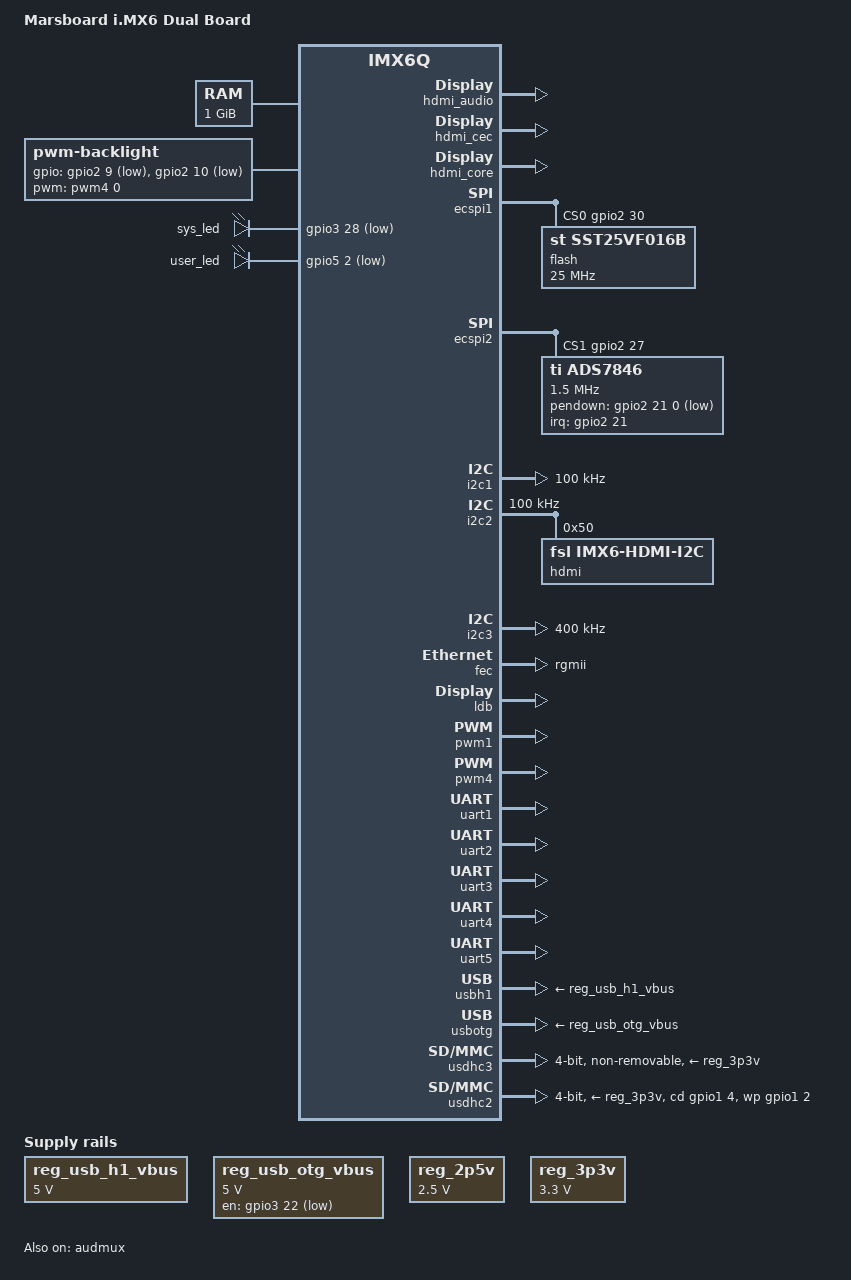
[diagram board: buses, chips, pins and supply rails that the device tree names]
/**/

/dts-v1/;
#include "imx6q.dtsi"

/ {
	model = "Marsboard i.MX6 Dual Board";
	compatible = "embest,imx6q-marsboard", "fsl,imx6q";

	aliases {
		mxcfb0 = &mxcfb1;
		mxcfb1 = &mxcfb2;
		mxcfb2 = &mxcfb3;
		mxcfb3 = &mxcfb4;
	};

	memory {
		reg = <0x10000000 0x40000000>;
	};

	backlight {
		compatible = "pwm-backlight";
		gpios = <&gpio2 9 1 &gpio2 10 1>;
		pwms = <&pwm4 0 5000000>;
		brightness-levels = <0 4 8 16 32 64 128 255>;
		default-brightness-level = <7>;
	};


	leds {
		compatible = "gpio-leds";

		sys_led {
			gpios = <&gpio3 28 GPIO_ACTIVE_LOW>;
			linux,default-trigger = "heartbeat";
		};

		user_led {
			gpios = <&gpio5 2 GPIO_ACTIVE_LOW>;
		};
	};

	hannstar_cabc {
		compatible = "hannstar,cabc";
	};

	lcd@0 {
		compatible = "fsl,lcd";
		pinctrl-names = "default";
		pinctrl-0 = <&pinctrl_ipu1_1>;
		ipu_id = <0>;
		disp_id = <0>;
		default_ifmt = "RGB565";
		status = "okay";
	};

	mxcfb1: fb@0 {
		compatible = "fsl,mxc_sdc_fb";
		disp_dev = "ldb";
		interface_pix_fmt = "RGB666";
		mode_str ="LDB-XGA";
		default_bpp = <16>;
		int_clk = <0>;
		late_init = <0>;
		status = "disabled";
	};

	mxcfb2: fb@1 {
		compatible = "fsl,mxc_sdc_fb";
		disp_dev = "hdmi";
		interface_pix_fmt = "RGB24";
		mode_str ="1920x1080M@60";
		default_bpp = <24>;
		int_clk = <0>;
		late_init = <0>;
		status = "disabled";
	};

	mxcfb3: fb@2 {
		compatible = "fsl,mxc_sdc_fb";
		disp_dev = "lcd";
		interface_pix_fmt = "RGB565";
		mode_str ="CLAA-WVGA";
		default_bpp = <16>;
		int_clk = <0>;
		late_init = <0>;
		status = "disabled";
	};

	mxcfb4: fb@3 {
		compatible = "fsl,mxc_sdc_fb";
		disp_dev = "ldb";
		interface_pix_fmt = "RGB666";
		mode_str ="LDB-XGA";
		default_bpp = <16>;
		int_clk = <0>;
		late_init = <0>;
		status = "disabled";
	};

	regulators {
		compatible = "simple-bus";

		reg_usb_h1_vbus: usb_h1_vbus {
			compatible = "regulator-fixed";
			regulator-name = "usb_h1_vbus";
			regulator-min-microvolt = <5000000>;
			regulator-max-microvolt = <5000000>;
			regulator-always-on;
       };

		reg_usb_otg_vbus: usb_otg_vbus {
			compatible = "regulator-fixed";
			regulator-name = "usb_otg_vbus";
			regulator-min-microvolt = <5000000>;
			regulator-max-microvolt = <5000000>;
			gpio = <&gpio3 22 0>;
			/*enable-active-high;*/
		};

		reg_2p5v: 2p5v {
			compatible = "regulator-fixed";
			regulator-name = "2P5V";
			regulator-min-microvolt = <2500000>;
			regulator-max-microvolt = <2500000>;
			regulator-always-on;
		};

		reg_3p3v: 3p3v {
			compatible = "regulator-fixed";
			regulator-name = "3P3V";
			regulator-min-microvolt = <3300000>;
			regulator-max-microvolt = <3300000>;
			regulator-always-on;
		};
	};

	sound-hdmi {
		compatible = "fsl,imx6q-audio-hdmi",
			     "fsl,imx-audio-hdmi";
		model = "imx-audio-hdmi";
		hdmi-controller = <&hdmi_audio>;
	};
#if 0
	sound-spdif {
		compatible = "fsl,imx-audio-spdif",
			   "fsl,imx-sabreauto-spdif";
		model = "imx-spdif";
		spdif-controller = <&spdif>;
		spdif-in;
	};

	v4l2_cap_0 {
		compatible = "fsl,imx6q-v4l2-capture";
		ipu_id = <0>;
		csi_id = <0>;
		mclk_source = <0>;
		status = "okay";
	};

	v4l2_out {
		compatible = "fsl,mxc_v4l2_output";
		status = "okay";
	};
#endif
};

&audmux {
	pinctrl-names = "default";
	pinctrl-0 = <&pinctrl_audmux_2>;
	status = "okay";
};

&iomuxc {
	pinctrl-names = "default";
	pinctrl-0 = <&pinctrl_hog>;

	hog {
		pinctrl_hog: hoggrp {
			fsl,pins = <
				/* lvds */	
				MX6QDL_PAD_ENET_TXD1__GPIO1_IO29 0x80000000 /* LCD_PWR_EN */
				MX6QDL_PAD_NANDF_CS2__GPIO6_IO15 0x80000000 /* LED_PWR_EN */
				/* generic_ts */	
				MX6QDL_PAD_NANDF_CS1__GPIO6_IO14 0x80000000 /* Touch_Int */
				/* SDHC2 */
				MX6QDL_PAD_GPIO_2__GPIO1_IO02 0x80000000 /* SD2 WP */
				MX6QDL_PAD_GPIO_4__GPIO1_IO04 0x80000000 /* SD2 CD */	
				/* usb otg */
				MX6QDL_PAD_EIM_D22__GPIO3_IO22 0x80000000 /* USB_OTG_PWR_EN */
				//MX6QDL_PAD_EIM_D21__USB_OTG_OC 0x17059
				//MX6QDL_PAD_EIM_D30__USB_H1_OC 0x17059
				/* Ethernet */
				MX6QDL_PAD_EIM_D31__GPIO3_IO31 0x80000000 /* RGMII RST */
				/* ads7846 */
				MX6QDL_PAD_EIM_A17__GPIO2_IO21 0x80000000 /* TOUCH_PENIRQ */
				/* gpio-leds */
				MX6QDL_PAD_EIM_D28__GPIO3_IO28 0x80000000 /* User LED D25 */
				MX6QDL_PAD_EIM_A25__GPIO5_IO02 0x80000000 /* User LED D24 */
				/* 24MHz for audio & camera */
				MX6QDL_PAD_GPIO_0__CCM_CLKO1    0x130b0

				MX6QDL_PAD_EIM_EB2__GPIO2_IO30 0x80000000 /* SPI1_CS0 */
				MX6QDL_PAD_EIM_RW__GPIO2_IO26 0x80000000 /* SPI2_CS0 */
			>;
		};
	};
};

&hdmi_audio {
	status = "okay";
};

&hdmi_cec {
	pinctrl-names = "default";
	pinctrl-0 = <&pinctrl_hdmi_cec_2>; /* Pin CAN1_RXD ??? */
	status = "okay";
};

&hdmi_core {
	ipu_id = <0>;
	disp_id = <1>;
	status = "okay";
};

&hdmi_video {
	pinctrl-names = "default";
	pinctrl-0 = <&pinctrl_hdmi_hdcp_1>;
	fsl,hdcp;
};

&spdif {
	//pinctrl-names = "default";
	//pinctrl-0 = <&pinctrl_spdif_3>;
	status = "disabled"; /*conflicts whit enet*/
};

&ecspi1 {
	fsl,spi-num-chipselects = <1>;
	cs-gpios = <&gpio2 30 0>;
	pinctrl-names = "default";
	pinctrl-0 = <&pinctrl_ecspi1_1>;

	/* NOR-flash */
	flash: m25p80@0 {
		#address-cells = <1>;
		#size-cells = <1>;
		compatible = "st,sst25vf016b";
		spi-max-frequency = <25000000>;
		reg = <0>;	/* CS0 */
	};
};

&ecspi2 {
	fsl,spi-num-chipselects = <3>;
	cs-gpios = <&gpio2 26 0>,<&gpio2 27 0>,<&gpio3 29 0>;
	pinctrl-names = "default";
	pinctrl-0 = <&pinctrl_ecspi2_1 &pinctrl_ecspi2_cs_1 &pinctrl_ecspi2_cs_2>;

	/*Touch controller*/
	ads7846@0 {
		reg = <1>;	/* CS1 */
		compatible = "ti,ads7846";
		interrupt-parent = <&gpio2>;
		interrupts = <21 2>;	
		spi-max-frequency = <1500000>;
		pendown-gpio = <&gpio2 21 0 GPIO_ACTIVE_LOW>;

		ti,settle-delay-usec = /bits/ 16 <150>;
		ti,keep-vref-on = /bits/ 16 <1>;
		ti,swap-xy = /bits/ 16 <1>;
		ti,x-min = /bits/ 16 <0>;
		ti,x-max = /bits/ 16 <4095>;
		ti,y-min = /bits/ 16 <0>;
		ti,y-max = /bits/ 16 <4095>;
		ti,debounce-rep = /bits/ 16 <1>;
		ti,debounce-tol = /bits/ 16 <5>;
		ti,debounce-max = /bits/ 16 <10>;
		linux,wakeup;
	};
};

&i2c1 {
	clock-frequency = <100000>;
	pinctrl-names = "default";
	pinctrl-0 = <&pinctrl_i2c1_2>;
	status = "okay";
};

&i2c2 {
	clock-frequency = <100000>;
	pinctrl-names = "default";
	pinctrl-0 = <&pinctrl_i2c2_2>;
	status = "okay";

	hdmi: edid@50 {
		compatible = "fsl,imx6-hdmi-i2c";
		reg = <0x50>;
	};
};

&i2c3 {
	clock-frequency = <400000>;
	pinctrl-names = "default";
	pinctrl-0 = <&pinctrl_i2c3_5>;
	status = "okay";

	/*TODO: generic ts*/
};

&fec {
	pinctrl-names = "default";
	pinctrl-0 = <&pinctrl_enet_1>;
	phy-mode = "rgmii";
	/*phy-reset-gpios = <&gpio3 31 0 GPIO_ACTIVE_HIGH>;*/
	status = "okay";
};

&mxcfb1 {
	status = "okay";
};

&mxcfb2 {
	status = "okay";
};

&ldb {
	ipu_id = <0>;
	disp_id = <0>;
	ext_ref = <1>;
	mode = "sep0";
	sec_ipu_id = <0>;
	sec_disp_id = <1>;
	ldb-en-gpio = <&gpio6 15 GPIO_ACTIVE_HIGH>;
	status = "okay";
};

/* Expansion port */
&pwm1 {
	pinctrl-names = "default";
	pinctrl-0 = <&pinctrl_pwm1_2>;
	status = "okay";
};

/* Backlight LCD conector and Expansion port */
&pwm4 {
	pinctrl-names = "default";
	pinctrl-0 = <&pinctrl_pwm4_2>;
	status = "okay";
};

&uart1 {
	pinctrl-names = "default";
	pinctrl-0 = <&pinctrl_uart1_2>;
	fsl,uart-has-rtscts;
	status = "okay";
};

&uart2 {
	pinctrl-names = "default";
	pinctrl-0 = <&pinctrl_uart2_1>;
	status = "okay";
};

&uart3 {
	pinctrl-names = "default";
	pinctrl-0 = <&pinctrl_uart3_2>;
	fsl,uart-has-rtscts;
	status = "okay";
};

&uart4 {
	pinctrl-names = "default";
	pinctrl-0 = <&pinctrl_uart4_1>;
	status = "okay";
};

&uart5 {
	pinctrl-names = "default";
	pinctrl-0 = <&pinctrl_uart5_1>;
	status = "okay";
};

&usbh1 {
	vbus-supply = <&reg_usb_h1_vbus>;
	status = "okay";
};

&usbotg {
	pinctrl-names = "default";
	pinctrl-0 = <&pinctrl_usbotg_2>;
	vbus-supply = <&reg_usb_otg_vbus>;
	status = "okay";
};

&usdhc3 {
	pinctrl-names = "default";
	pinctrl-0 = <&pinctrl_usdhc3_2>;
	bus-width = <4>;
	vmmc-supply = <&reg_3p3v>;
	non-removable;
	status = "okay";
};

&usdhc2 {
	pinctrl-names = "default";
	pinctrl-0 = <&pinctrl_usdhc2_2>;
	bus-width = <4>;
	cd-gpios = <&gpio1 4 0>;
	wp-gpios = <&gpio1 2 0>;
	vmmc-supply = <&reg_3p3v>;
	status = "okay";
};

&weim {
	status = "disabled"; /* pin conflict with ecspi1, i2c3 and uart3 */
};
